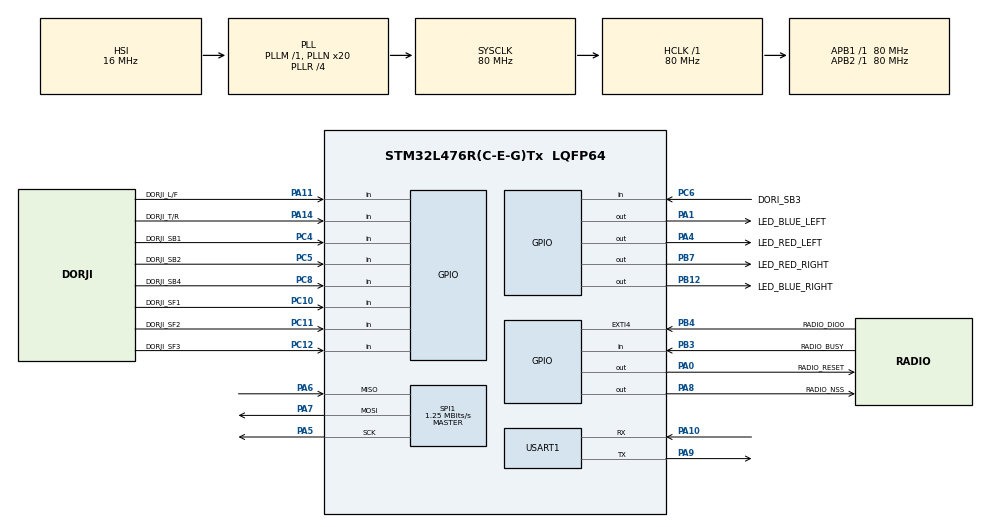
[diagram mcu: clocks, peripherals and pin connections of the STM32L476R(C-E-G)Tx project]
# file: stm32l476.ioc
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Mcu.Family=STM32L4
Mcu.Name=STM32L476R(C-E-G)Tx
Mcu.Package=LQFP64
NVIC.EXTI4_IRQn=true\:0\:0\:false\:false\:true\:true
NVIC.PriorityGroup=NVIC_PRIORITYGROUP_4
NVIC.TIM3_IRQn=true\:0\:0\:false\:false\:true\:true
PA0.GPIO_Label=RADIO_RESET
PA0.GPIO_PuPd=GPIO_PULLUP
PA0.PinState=GPIO_PIN_SET
PA0.Signal=GPIO_Output
PA1.GPIO_Label=LED_BLUE_LEFT
PA1.GPIO_PuPd=GPIO_NOPULL
PA1.PinState=GPIO_PIN_SET
PA1.Signal=GPIO_Output
PA10.Mode=Asynchronous
PA10.Signal=USART1_RX
PA11.GPIO_Label=DORJI_L/F
PA11.GPIO_PuPd=GPIO_PULLUP
PA11.Signal=GPIO_Input
PA14\ (JTCK-SWCLK).GPIO_Label=DORJI_T/R
PA14\ (JTCK-SWCLK).GPIO_PuPd=GPIO_PULLUP
PA14\ (JTCK-SWCLK).Signal=GPIO_Input
PA4.GPIO_Label=LED_RED_LEFT
PA4.GPIO_PuPd=GPIO_NOPULL
PA4.PinState=GPIO_PIN_SET
PA4.Signal=GPIO_Output
PA5.Mode=Full_Duplex_Master
PA5.Signal=SPI1_SCK
PA6.Mode=Full_Duplex_Master
PA6.Signal=SPI1_MISO
PA7.Mode=Full_Duplex_Master
PA7.Signal=SPI1_MOSI
PA8.GPIO_Label=RADIO_NSS
PA8.GPIO_PuPd=GPIO_PULLUP
PA8.PinState=GPIO_PIN_SET
PA8.Signal=GPIO_Output
PA9.Mode=Asynchronous
PA9.Signal=USART1_TX
PB12.GPIO_Label=LED_BLUE_RIGHT
PB12.PinState=GPIO_PIN_SET
PB12.Signal=GPIO_Output
PB3\ (JTDO-TRACESWO).GPIO_Label=RADIO_BUSY
PB3\ (JTDO-TRACESWO).GPIO_PuPd=GPIO_PULLDOWN
PB3\ (JTDO-TRACESWO).Signal=GPIO_Input
PB4\ (NJTRST).GPIO_Label=RADIO_DIO0
PB4\ (NJTRST).GPIO_PuPd=GPIO_PULLDOWN
PB4\ (NJTRST).Signal=GPXTI4
PB7.GPIO_FM7=__NULL
PB7.GPIO_Label=LED_RED_RIGHT
PB7.GPIO_PuPd=GPIO_NOPULL
PB7.PinState=GPIO_PIN_SET
PB7.Signal=GPIO_Output
PC10.GPIO_Label=DORJI_SF1
PC10.GPIO_PuPd=GPIO_PULLUP
PC10.Signal=GPIO_Input
PC11.GPIO_Label=DORJI_SF2
PC11.GPIO_PuPd=GPIO_PULLUP
PC11.Signal=GPIO_Input
PC12.GPIO_Label=DORJI_SF3
PC12.GPIO_PuPd=GPIO_PULLUP
PC12.Signal=GPIO_Input
PC14-OSC32_IN\ (PC14).Mode=LSE-External-Oscillator
PC14-OSC32_IN\ (PC14).Signal=RCC_OSC32_IN
PC15-OSC32_OUT\ (PC15).Mode=LSE-External-Oscillator
PC15-OSC32_OUT\ (PC15).Signal=RCC_OSC32_OUT
PC4.GPIO_Label=DORJI_SB1
PC4.GPIO_PuPd=GPIO_PULLUP
PC4.Signal=GPIO_Input
PC5.GPIO_Label=DORJI_SB2
PC5.GPIO_PuPd=GPIO_PULLUP
PC5.Signal=GPIO_Input
PC6.GPIO_Label=DORI_SB3
PC6.GPIO_PuPd=GPIO_PULLUP
PC6.Signal=GPIO_Input
PC8.GPIO_Label=DORJI_SB4
PC8.GPIO_PuPd=GPIO_PULLUP
PC8.Signal=GPIO_Input
ProjectManager.HeapSize=0x200
ProjectManager.StackSize=0x400
ProjectManager.TargetToolchain=MDK-ARM V5
RCC.ADCFreq_Value=64000000
RCC.AHBFreq_Value=80000000
RCC.APB1Freq_Value=80000000
RCC.APB1TimFreq_Value=80000000
RCC.APB2Freq_Value=80000000
RCC.APB2TimFreq_Value=80000000
RCC.CortexFreq_Value=80000000
RCC.HCLKFreq_Value=80000000
RCC.HSE_VALUE=8000000
RCC.HSI_VALUE=16000000
RCC.MSI_VALUE=4000000
RCC.PLLN=20
RCC.PLLR=RCC_PLLR_DIV4
RCC.PLLSourceVirtual=RCC_PLLSOURCE_HSI
RCC.SYSCLKFreq_VALUE=80000000
RCC.SYSCLKSource=RCC_SYSCLKSOURCE_PLLCLK
RCC.USBFreq_Value=64000000
RCC.VCOOutputFreq_Value=320000000
SPI1.BaudRatePrescaler=SPI_BAUDRATEPRESCALER_64
SPI1.CalculateBaudRate=1.25 MBits/s
SPI1.DataSize=SPI_DATASIZE_8BIT
SPI1.Direction=SPI_DIRECTION_2LINES
SPI1.Mode=SPI_MODE_MASTER
SPI1.NSSPMode=SPI_NSS_PULSE_ENABLE
SPI1.VirtualType=VM_MASTER
TIM3.AutoReloadPreload=TIM_AUTORELOAD_PRELOAD_ENABLE
TIM3.Period=1000-1
TIM3.Prescaler=80-1
USART1.VirtualMode-Asynchronous=VM_ASYNC
VP_TIM3_VS_ClockSourceINT.Mode=Internal
board=custom

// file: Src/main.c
/*
******************************************************
	*Soft VERSION:1.1
	*Company:DORJI
	*Email: sales@dorji.com
	*Web: 	http://www.dorji.com
*****************************************************
*/
#include "main.h"
#include "stm32l4xx_hal.h"
#include "spi.h"
#include "tim.h"
#include "usart.h"
#include "gpio.h"

/* USER CODE BEGIN Includes */
#include "stdio.h"
#include "string.h"
#include "sx126x-board.h"
#include "radio.h"
#include "switch.h"
/* USER CODE END Includes */

/* USER CODE BEGIN PV */
/* Private variables ---------------------------------------------------------*/
 SWITCH_STATE_ST user_select_mode = {0};   //user selected mode
/* USER CODE END PV */

void SystemClock_Config(void);

/* USER CODE BEGIN PFP */
/* Private function prototypes -----------------------------------------------*/

/* USER CODE END PFP */

/* USER CODE BEGIN 0 */
#define Get_NIRQ()  HAL_GPIO_ReadPin(RADIO_DIO0_GPIO_Port,RADIO_DIO0_Pin)

/*
  Notes:
  1)The jumper T/R on DRF1262G is connected to SWCLK（PA14) so this jumper must be unconnected in order to download the codes into ST-NUCLEO board successfuly.
  2)If no jumpers are connected, the default settings will be: freq=868Mhz,mode=TX,power=22,BW=250kHZ,SF=12
    The freqeuncy selection for USE_BAND_868 and USE_BAND_915 can be done in KEIL MDK5: Options for targets->c/c++->Define global variable

   SF1   SF2  SF3       Spreading Factor    Switch Val
	 OFF   OFF  OFF             12          			0
	 ON    OFF  OFF             11								1
	 OFF   ON   OFF             10								2
	 OFF   OFF  ON               9								4
	 ON 	 ON   OFF              8          			3
	 ON    OFF  ON 							 7          			5
	 OFF   ON   ON               6          			6
   ON    ON   ON               5          			7

   SB1   SB2   SB3   SB4        Bandwidth 		Switch Val
   OFF   OFF   OFF   OFF         250KHz           0
   ON    OFF   OFF   OFF         125KHz           1
   OFF   ON    OFF   OFF         60.5KHz          2
   OFF   OFF   ON    OFF         41.67KHz         4
   OFF   OFF   OFF   ON          31.25KHz         8
   ON    ON    OFF   OFF         20.83KHz         3
   ON    OFF   ON    OFF         16.63KHz         5
   ON    OFF   OFF   ON          10.42KHz         9
   OFF   ON    ON    OFF         7.81KHz          6
   others                        500KHz
 */
 #if defined( USE_BAND_868 )

#define RF_FREQUENCY                                868000000 // Hz

#elif defined( USE_BAND_915 )

#define RF_FREQUENCY                                915000000 // Hz

#else
    #error "Please define a frequency band in the compiler options."
#endif

#define TX_OUTPUT_POWER                             22        // dBm TX output power

#if defined( USE_MODEM_LORA )

#define LORA_BANDWIDTH                              1         // not used and is determined by SB jumper on DAD06 board, Bandwidth=125khz,lookfor radio.c line 392
																															//[250kHZ,125khz,62.5khz,20.83kHZ,41.67KHZ
																															//16.63kHZ,7.81KHZ,500khz,31.25KHZ,10.42kHZ]
#define LORA_SPREADING_FACTOR                       11        // not used and it is determined by SF jumpers on DAD06 board, Spreading factor= SF11 [SF5..SF12]
#define LORA_CODINGRATE                             1         // [1: 4/5,
                                                              //  2: 4/6,
                                                              //  3: 4/7,
                                                              //  4: 4/8]
#define LORA_PREAMBLE_LENGTH                        8         // Same for Tx and Rx
#define LORA_SYMBOL_TIMEOUT                         0         // Symbols
#define LORA_FIX_LENGTH_PAYLOAD_ON                  false
#define LORA_IQ_INVERSION_ON                        false

#elif defined( USE_MODEM_FSK )

#define FSK_FDEV                                    25e3      // Hz
#define FSK_DATARATE                                50e3      // bps
#define FSK_BANDWIDTH                               100e3     // Hz >> DSB in sx126x
#define FSK_AFC_BANDWIDTH                           100e3     // Hz
#define FSK_PREAMBLE_LENGTH                         5         // Same for Tx and Rx
#define FSK_FIX_LENGTH_PAYLOAD_ON                   false

#else
    #error "Please define a modem in the compiler options."
#endif

typedef enum
{
    LOWPOWER,
    RX,
    RX_TIMEOUT,
    RX_ERROR,
    TX,
    TX_TIMEOUT,
}States_t;

#define RX_TIMEOUT_VALUE                            1000
#define BUFFER_SIZE                                 64 // Define the payload size here

const uint8_t PingMsg[] = "PING";

uint16_t BufferSize = BUFFER_SIZE;
uint8_t Buffer[BUFFER_SIZE];

States_t State = LOWPOWER;

int8_t RssiValue = 0;
int8_t SnrValue = 0;

/*!
 * Radio events function pointer
 */
static RadioEvents_t RadioEvents;

/*!
 * \brief Function to be executed on Radio Tx Done event
 */
void OnTxDone( void );

/*!
 * \brief Function to be executed on Radio Rx Done event
 */
void OnRxDone( uint8_t *payload, uint16_t size, int16_t rssi, int8_t snr );

/*!
 * \brief Function executed on Radio Tx Timeout event
 */
void OnTxTimeout( void );

/*!
 * \brief Function executed on Radio Rx Timeout event
 */
void OnRxTimeout( void );

/*!
 * \brief Function executed on Radio Rx Error event
 */
void OnRxError( void );
/* USER CODE END 0 */

int main(void)
{
  /* USER CODE BEGIN 1 */
		uint8_t i = 0;
  /* USER CODE END 1 */

  /* MCU Configuration----------------------------------------------------------*/

  /* Reset of all peripherals, Initializes the Flash interface and the Systick. */
  HAL_Init();

  /* Configure the system clock */
  SystemClock_Config();

  /* Initialize all configured peripherals */
  MX_GPIO_Init();
  MX_SPI1_Init();
  MX_TIM3_Init();
  MX_USART1_UART_Init();
  /* USER CODE BEGIN 2 */
  printf("Device is init OK...\r\n");
  HAL_TIM_Base_Start_IT(&htim3);

	user_select_mode = Check_switch();  //obtain users' selection

	// Radio initialization
    RadioEvents.TxDone = OnTxDone;
    RadioEvents.RxDone = OnRxDone;
    RadioEvents.TxTimeout = OnTxTimeout;
    RadioEvents.RxTimeout = OnRxTimeout;
    RadioEvents.RxError = OnRxError;

    Radio.Init( &RadioEvents );

    Radio.SetChannel( RF_FREQUENCY );

#if defined( USE_MODEM_LORA )

    Radio.SetTxConfig( MODEM_LORA, TX_OUTPUT_POWER, 0, user_select_mode.band_width,
                                   user_select_mode.spread_factor, LORA_CODINGRATE,
                                   LORA_PREAMBLE_LENGTH, LORA_FIX_LENGTH_PAYLOAD_ON,
                                   true, 0, 0, LORA_IQ_INVERSION_ON, 3000 );

    Radio.SetRxConfig( MODEM_LORA, user_select_mode.band_width, user_select_mode.spread_factor,
                                   LORA_CODINGRATE, 0, LORA_PREAMBLE_LENGTH,
                                   LORA_SYMBOL_TIMEOUT, LORA_FIX_LENGTH_PAYLOAD_ON,
                                   0, true, 0, 0, LORA_IQ_INVERSION_ON, true );

#elif defined( USE_MODEM_FSK )

    Radio.SetTxConfig( MODEM_FSK, TX_OUTPUT_POWER, FSK_FDEV, 0,
                                  FSK_DATARATE, 0,
                                  FSK_PREAMBLE_LENGTH, FSK_FIX_LENGTH_PAYLOAD_ON,
                                  true, 0, 0, 0, 3000 );

    Radio.SetRxConfig( MODEM_FSK, FSK_BANDWIDTH, FSK_DATARATE,
                                  0, FSK_AFC_BANDWIDTH, FSK_PREAMBLE_LENGTH,
                                  0, FSK_FIX_LENGTH_PAYLOAD_ON, 0, true,
                                  0, 0,false, true );

#else
    #error "Please define a frequency band in the compiler options."
#endif
	 if(RX_MODE == user_select_mode.tx_rx_mode)
	{
			Radio.Rx(0);
	}else
	{
		Radio.Send((uint8_t*)Buffer, 4 );
	}
  /* USER CODE END 2 */

  /* Infinite loop */
  while (1)
  {

  /* USER CODE BEGIN 3 */
	if(RX_MODE == user_select_mode.tx_rx_mode)
		{
		        if(  RX == State )  //判断是否接收到数据
        {
					HAL_GPIO_TogglePin(LED_BLUE_LEFT_GPIO_Port,LED_BLUE_LEFT_Pin);
          HAL_UART_Transmit(&huart1, (uint8_t *)Buffer, BufferSize, 0xFFFF);
					printf("\r\n");
					printf("RssiValue:%d,SnrValue:%d,State:%d\r\n",RssiValue,SnrValue,State);
          State = LOWPOWER;

        }
		}else if (TX == State) //判断数据是否发送完完成
		{
			  i++;  //unsigned char
			  sprintf((char*)Buffer,"%s%03d",PingMsg,i);
        Radio.Send((uint8_t*)Buffer, 7 );
			  HAL_GPIO_TogglePin(LED_RED_LEFT_GPIO_Port,LED_RED_LEFT_Pin);
				DelayMs(500);
		}
        // Process Radio IRQ
        Radio.IrqProcess( );
  }
  /* USER CODE END 3 */

}

void SystemClock_Config(void)
{

  RCC_OscInitTypeDef RCC_OscInitStruct;
  RCC_ClkInitTypeDef RCC_ClkInitStruct;
  RCC_PeriphCLKInitTypeDef PeriphClkInit;

    /**Initializes the CPU, AHB and APB busses clocks
    */
  RCC_OscInitStruct.OscillatorType = RCC_OSCILLATORTYPE_HSI;
  RCC_OscInitStruct.HSIState = RCC_HSI_ON;
  RCC_OscInitStruct.HSICalibrationValue = 16;
  RCC_OscInitStruct.PLL.PLLState = RCC_PLL_ON;
  RCC_OscInitStruct.PLL.PLLSource = RCC_PLLSOURCE_HSI;
  RCC_OscInitStruct.PLL.PLLM = 1;
  RCC_OscInitStruct.PLL.PLLN = 20;
  RCC_OscInitStruct.PLL.PLLP = RCC_PLLP_DIV7;
  RCC_OscInitStruct.PLL.PLLQ = RCC_PLLQ_DIV2;
  RCC_OscInitStruct.PLL.PLLR = RCC_PLLR_DIV4;
  if (HAL_RCC_OscConfig(&RCC_OscInitStruct) != HAL_OK)
  {
    _Error_Handler(__FILE__, __LINE__);
  }

    /**Initializes the CPU, AHB and APB busses clocks
    */
  RCC_ClkInitStruct.ClockType = RCC_CLOCKTYPE_HCLK|RCC_CLOCKTYPE_SYSCLK
                              |RCC_CLOCKTYPE_PCLK1|RCC_CLOCKTYPE_PCLK2;
  RCC_ClkInitStruct.SYSCLKSource = RCC_SYSCLKSOURCE_PLLCLK;
  RCC_ClkInitStruct.AHBCLKDivider = RCC_SYSCLK_DIV1;
  RCC_ClkInitStruct.APB1CLKDivider = RCC_HCLK_DIV1;
  RCC_ClkInitStruct.APB2CLKDivider = RCC_HCLK_DIV1;

  if (HAL_RCC_ClockConfig(&RCC_ClkInitStruct, FLASH_LATENCY_4) != HAL_OK)
  {
    _Error_Handler(__FILE__, __LINE__);
  }

  PeriphClkInit.PeriphClockSelection = RCC_PERIPHCLK_USART1;
  PeriphClkInit.Usart1ClockSelection = RCC_USART1CLKSOURCE_PCLK2;
  if (HAL_RCCEx_PeriphCLKConfig(&PeriphClkInit) != HAL_OK)
  {
    _Error_Handler(__FILE__, __LINE__);
  }

    /**Configure the main internal regulator output voltage
    */
  if (HAL_PWREx_ControlVoltageScaling(PWR_REGULATOR_VOLTAGE_SCALE1) != HAL_OK)
  {
    _Error_Handler(__FILE__, __LINE__);
  }

    /**Configure the Systick interrupt time
    */
  HAL_SYSTICK_Config(HAL_RCC_GetHCLKFreq()/1000);

    /**Configure the Systick
    */
  HAL_SYSTICK_CLKSourceConfig(SYSTICK_CLKSOURCE_HCLK);

  /* SysTick_IRQn interrupt configuration */
  HAL_NVIC_SetPriority(SysTick_IRQn, 0, 0);
}

/* USER CODE BEGIN 4 */
void OnTxDone( void )
{
//    Radio.Sleep( );
    State = TX;
}

void OnRxDone( uint8_t *payload, uint16_t size, int16_t rssi, int8_t snr )
{
//    Radio.Sleep( );
    BufferSize = size;
    memcpy( Buffer, payload, BufferSize );
    RssiValue = rssi;
    SnrValue = snr;
    State = RX;
}

void OnTxTimeout( void )
{
 //   Radio.Sleep( );
    State = TX_TIMEOUT;
}

void OnRxTimeout( void )
{
//    Radio.Sleep( );
    State = RX_TIMEOUT;
}

void OnRxError( void )
{
//    Radio.Sleep( );
    State = RX_ERROR;
}
/* USER CODE END 4 */

void _Error_Handler(char *file, int line)
{
  while(1)
  {
  }
}

/************************ (C) COPYRIGHT STMicroelectronics *****END OF FILE****/
